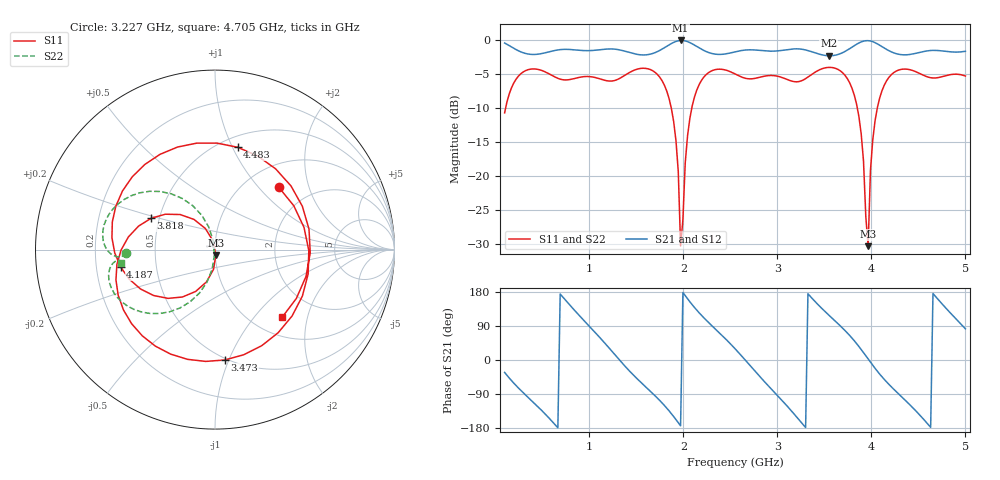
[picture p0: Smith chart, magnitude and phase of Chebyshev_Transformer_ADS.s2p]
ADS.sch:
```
<Qucs Schematic 25.1.2>
<Properties>
  <View=152,141,573,377,3.74524,0,0>
  <Grid=10,10,1>
  <DataSet=ADS.dat>
  <DataDisplay=ADS.dpl>
  <OpenDisplay=0>
  <Script=ADS.m>
  <RunScript=0>
  <showFrame=0>
  <FrameText0=Title>
  <FrameText1=Drawn By:>
  <FrameText2=Date:>
  <FrameText3=Revision:>
</Properties>
<Symbol>
  <.ID -20 44 SUB>
  <.PortSym -150 0 1 0 P1>
  <.PortSym 160 0 2 180 P2>
  <Text -50 -60 11 #000000 0 "ADS (S-par file)">
  <Rectangle -120 -10 80 20 #000000 1 1 #ffaa00 1 1>
  <Rectangle -40 -20 80 40 #000000 1 1 #ffaa00 1 1>
  <Rectangle 40 -40 90 70 #000000 1 1 #ffaa00 1 1>
  <Line -150 0 30 0 #000000 1 1>
  <Line 130 0 30 0 #000000 1 1>
  <Text -110 -10 15 #000000 0 "41.3 Ω">
  <Text -30 -10 15 #000000 0 "27.4 Ω">
  <Text 60 -10 15 #000000 0 "18.2 Ω">
  <Text -170 -50 15 #000000 0 "50 Ω">
  <Text 140 -50 15 #000000 0 "15 Ω">
</Symbol>
<Components>
  <GND * 1 300 290 0 0 0 0>
  <Port P1 1 220 260 -23 12 0 0 "1" 1 "analog" 0>
  <Port P2 1 380 260 4 -46 0 2 "2" 1 "analog" 0>
  <SPfile X1 1 300 260 -26 -55 0 0 "Chebyshev_Transformer_ADS.s2p" 1 "rectangular" 0 "linear" 0 "open" 0 "2" 0>
</Components>
<Wires>
  <220 260 270 260 "" 0 0 0 "">
  <330 260 380 260 "" 0 0 0 "">
</Wires>
<Diagrams>
</Diagrams>
<Paintings>
</Paintings>
```
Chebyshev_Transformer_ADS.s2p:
! Created Thu Jun 26 07:35:08 2025
# hz S ma R 50
! 2 Port Network Data from SP1.SP block
! freq  magS11  angS11  magS21  angS21  magS12  angS12  magS22  angS22
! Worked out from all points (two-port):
!   200 points, 100 MHz to 5 GHz, reference 50 ohm
!   highest |S21| = -0.01 dB at 1.971 GHz (marker M1); lowest = -2.3 dB at 3.547 GHz (marker M2)
!   |S21| within 3 dB of the highest: start of sweep to end of sweep
!   lowest |S11| = -30.3 dB at 3.966 GHz (marker M3), VSWR 1.06, Z = 50.4 - j3.04 ohm
!   |S11| at or under -10 dB: start of sweep to 110.4 MHz; 1.873 GHz to 2.09 GHz (217 MHz wide, 11 % of centre); 3.851 GHz to 4.063 GHz (211.7 MHz wide, 5.35 % of centre)
!   |S22| runs from -30.1 to -4.0 dB; largest |S21 - S12| = 0
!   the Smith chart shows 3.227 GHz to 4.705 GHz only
!   S11 on the Smith chart (normalised r, x): 3.227 GHz: 1.40, +1.30; 3.473 GHz: 0.49, -0.97; 3.818 GHz: 0.45, +0.19; 4.187 GHz: 0.31, -0.08; 4.483 GHz: 0.61, +1.05; 4.705 GHz: 1.34, -1.41
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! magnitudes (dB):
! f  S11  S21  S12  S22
! 100 MHz  -10.7  -0.4  -0.4  -10.7
! 1.971 GHz  -30.3  0.0  0.0  -30.1
! 2.562 GHz  -5.0  -1.7  -1.7  -5.0
! 3.227 GHz  -6.1  -1.3  -1.3  -6.1
! 3.473 GHz  -4.2  -2.1  -2.1  -4.2
! 3.547 GHz  -4.0  -2.3  -2.3  -4.0
! 3.818 GHz  -8.0  -0.8  -0.8  -8.0
! 3.966 GHz  -30.3  0.0  0.0  -30.1
! 4.187 GHz  -5.4  -1.5  -1.5  -5.4
! 4.483 GHz  -4.7  -1.9  -1.9  -4.7
! 4.705 GHz  -5.5  -1.5  -1.5  -5.5
! 5 GHz  -5.3  -1.6  -1.6  -5.2
